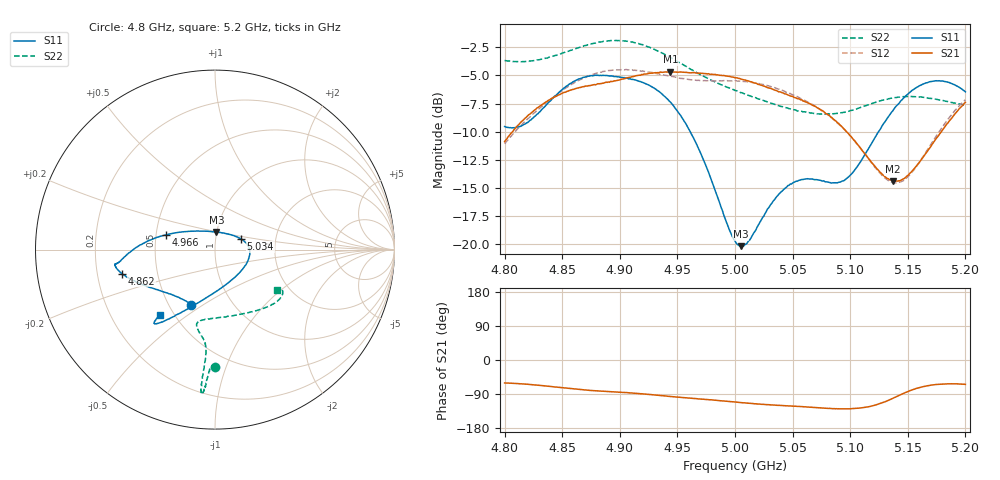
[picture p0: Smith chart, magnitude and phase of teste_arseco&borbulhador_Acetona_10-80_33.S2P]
! Network Analyzer HP8722D
! Hewlett-Packard
! Data name: Linha & Wilkinson
! Saver's name: Rodrigo Anjos
! Comments: Teste da utilização de aquisição
! continua pelo VNA HP8722D
! Time and date: 17/4/2025 14:38
!  Frequency  S11  S21  S12  S22
# HZ  S  MA R 50
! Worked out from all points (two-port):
!   401 points, 4.8 GHz to 5.2 GHz, reference 50 ohm
!   highest |S21| = -4.66 dB at 4.944 GHz (marker M1); lowest = -14.4 dB at 5.137 GHz (marker M2)
!   |S21| within 3 dB of the highest: 4.832 GHz to 5.068 GHz (236.1 MHz wide, 4.77 % of centre); 5.19751 GHz to end of sweep
!   lowest |S11| = -20.2 dB at 5.005 GHz (marker M3), VSWR 1.22, Z = 49.8 + j9.85 ohm
!   |S11| at or under -10 dB: 4.961 GHz to 5.125 GHz (163.4 MHz wide, 3.24 % of centre)
!   |S22| runs from -8.5 to -1.9 dB; largest |S21 - S12| = 0.88
!   S11 on the Smith chart (normalised r, x): 4.8 GHz: 0.65, -0.45; 4.862 GHz: 0.31, -0.12; 4.966 GHz: 0.57, +0.10; 5.034 GHz: 1.33, +0.16; 5.2 GHz: 0.42, -0.39
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4.8e9  0.3338 -113.1  0.2858 -60.7  0.2798 -175.0  0.6555 -90.0
4.819e9  0.3462 -133.0  0.3677 -63.8  0.3567 -173.4  0.65 -91.5
4.862e9  0.5354 -165.5  0.4926 -76.8  0.5273 -176.6  0.7405 -93.8
4.867e9  0.5476 -167.4  0.4997 -78.3  0.5425 -177.7  0.7554 -93.9
4.9e9  0.5529 -172.0  0.5378 -85.0  0.5956 175.8  0.8033 -95.2
4.934e9  0.4777 -177.9  0.5786 -93.3  0.573 171.9  0.7178 -95.7
4.944e9  0.4284 177.4  0.5848 -96.1  0.5575 172.0  0.6754 -95.4
4.966e9  0.2829 163.0  0.5769 -102.0  0.5363 173.8  0.5824 -94.9
5e9  0.1035 102.9  0.5495 -110.9  0.5336 176.3  0.4827 -99.2
5.005e9  0.09823 85.4  0.5428 -112.4  0.5302 176.4  0.4719 -100.3
5.012e9  0.104 62.8  0.531 -114.1  0.5263 176.1  0.4585 -101.8
5.034e9  0.1574 22.1  0.4854 -119.1  0.498 175.0  0.4193 -103.6
5.05e9  0.1873 5.6  0.4541 -121.8  0.462 174.2  0.3972 -99.8
5.067e9  0.1952 -12.7  0.4156 -124.9  0.4187 173.9  0.3831 -90.9
5.086e9  0.1879 -42.7  0.358 -128.2  0.3571 173.6  0.3804 -76.6
5.097e9  0.1964 -65.4  0.3159 -128.9  0.316 174.3  0.3887 -67.5
5.134e9  0.3741 -115.9  0.1942 -105.3  0.1906 -158.1  0.4442 -42.9
5.137e9  0.392 -117.8  0.1908 -101.2  0.1882 -153.5  0.4475 -41.6
5.15e9  0.4649 -123.8  0.2023 -83.5  0.1998 -133.0  0.4534 -36.6
5.168e9  0.5256 -128.2  0.2639 -67.7  0.2678 -113.9  0.4454 -32.2
5.184e9  0.5265 -129.9  0.3431 -63.0  0.3546 -107.2  0.4317 -30.9
5.2e9  0.476 -130.3  0.4274 -64.2  0.4395 -106.3  0.4148 -33.2
